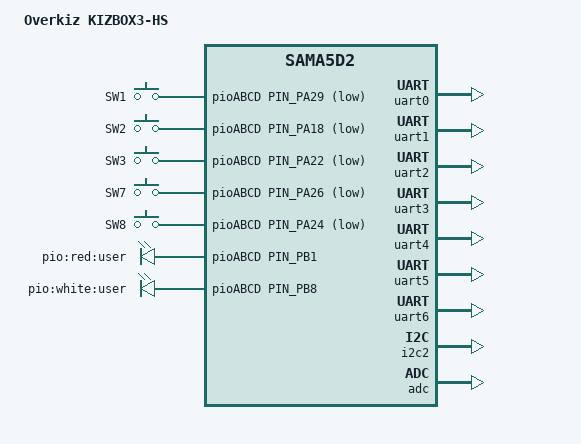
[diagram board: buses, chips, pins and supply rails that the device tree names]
// SPDX-License-Identifier: GPL-2.0
/*
 * at91-kizbox3-hs.dts - Device Tree file for Overkiz KIZBOX3-HS board
 *
 * Copyright (C) 2018 Overkiz SAS
 *   Author: Dorian Rocipon <d.rocipon@overkiz.com>
 *           Kevin Carli <k.carli@overkiz.com>
 *           Mickael Gardet <m.gardet@overkiz.com>
 */
/dts-v1/;
#include "at91-kizbox3_common.dtsi"

/ {
	model = "Overkiz KIZBOX3-HS";
	compatible = "overkiz,at91-kizbox3-hs", "atmel,sama5d2", "atmel,sama5";

	ahb {

		apb {

			uart0: serial@f801c000 {
				status = "okay";
			};

			/* debug uart */
			uart1: serial@f8020000 {
				status = "okay";
			};

			uart2: serial@f8024000 {
				status = "okay";
			};

			uart3: serial@fc008000 {
				status = "okay";
			};

			uart4: serial@fc00c000 {
				status = "okay";
			};

			flx0: flexcom@f8034000 {
				status = "okay";
				uart5: serial@200  {
						status = "okay";
				};
			};

			flx3: flexcom@fc014000 {
				status = "okay";
				uart6: serial@200 {
					status = "okay";
				};
			};

			flx4: flexcom@fc018000 {
				status = "okay";

				i2c2: i2c@600 {
					status = "okay";
				};
			};

			adc: adc@fc030000 {
				status = "okay";
			};

			pioABCD: pinctrl@fc038000 { // PIO A B C D

				pinctrl_key_gpio_default: key_gpio_default {
					pinmux=  <PIN_PA22__GPIO>,
					<PIN_PA24__GPIO>,
					<PIN_PA26__GPIO>,
					<PIN_PA29__GPIO>,
					<PIN_PA18__GPIO>;
					bias-disable;
					};

				pinctrl_gpio {
					pinctrl_pio_rf: gpio_rf {
						pinmux = <PIN_PC19__GPIO>;
						bias-disable;
					};
					pinctrl_pio_wifi: gpio_wifi {
						pinmux = <PIN_PC20__GPIO>;
						bias-disable;
					};
					pinctrl_pio_io_boot: gpio_io_boot {
						pinmux =
						<PIN_PC11__GPIO>,
						<PIN_PC17__GPIO>;
						bias-disable;
					};
					pinctrl_pio_io_test_radio: gpio_io_test_radio {
						pinmux = <PIN_PC9__GPIO>;
						bias-disable;
					};
					pinctrl_pio_zbe_test_radio: gpio_zbe_test_radio {
						pinmux = <PIN_PB21__GPIO>;
						bias-disable;
					};
					pinctrl_pio_zbe_rst: gpio_zbe_rst {
						pinmux = <PIN_PB25__GPIO>;
						bias-disable;
					};
					pinctrl_pio_io_reset: gpio_io_reset {
						pinmux = <PIN_PB30__GPIO>;
						//stm32 reset must be open drain (internal pull up)
						bias-disable;
						drive-open-drain = <1>;
						output-low;
					};
					pinctrl_pio_input: gpio_input {
						pinmux =
						<PIN_PB11__GPIO>,
						<PIN_PB12__GPIO>,
						<PIN_PC0__GPIO>;
						bias-disable;
					};
				};

				pinctrl_sx1243 {
					pinctrl_sx1243_tx: sx1243_tx {
						pinmux = <PIN_PB6__GPIO>;
						bias-disable;
					};
					pinctrl_sx1243_en: sx1243_en {
						pinmux = <PIN_PB17__GPIO>;
						bias-disable;
					};
					pinctrl_sx1243_cs: sx1243_cs {
						pinmux = <PIN_PB18__GPIO>;
						bias-disable;
					};
				};

				pinctrl_leds {
					pinctrl_led_red: led_red {
						pinmux = <PIN_PB1__GPIO>;
						bias-disable;
					};
					pinctrl_led_white: led_white {
						pinmux = <PIN_PB8__GPIO>;
						bias-disable;
					};
 				};
			};
		};
	};

	gpio_keys {
		compatible = "gpio-keys";
		pinctrl-names = "default" , "default", "default", "default", "default" ;
		pinctrl-0 = <&pinctrl_key_gpio_default>;
		pinctrl-1 = <&pinctrl_pio_rf &pinctrl_pio_wifi>;
		pinctrl-2 = <&pinctrl_pio_io_boot &pinctrl_pio_io_reset &pinctrl_pio_io_test_radio>;
		pinctrl-3 = <&pinctrl_pio_zbe_test_radio &pinctrl_pio_zbe_rst>;
		pinctrl-4 = <&pinctrl_pio_input>;

		SW1 {
			label = "SW1";
			gpios = <&pioABCD PIN_PA29 GPIO_ACTIVE_LOW>;
			linux,code = <0x101>;
			wakeup-source;
		};

		SW2 {
			label = "SW2";
			gpios = <&pioABCD PIN_PA18 GPIO_ACTIVE_LOW>;
			linux,code = <0x102>;
			wakeup-source;
		};

		SW3 {
			label = "SW3";
			gpios = <&pioABCD PIN_PA22 GPIO_ACTIVE_LOW>;
			linux,code = <0x103>;
			wakeup-source;
		};

		SW7 {
			label = "SW7";
			gpios = <&pioABCD PIN_PA26 GPIO_ACTIVE_LOW>;
			linux,code = <0x107>;
			wakeup-source;
		};

		SW8 {
			label = "SW8";
			gpios = <&pioABCD PIN_PA24 GPIO_ACTIVE_LOW>;
			linux,code = <0x108>;
			wakeup-source;
		};
	};

	pwm_leds {
		status = "okay";

		red {
			status = "okay";
		};

		green {
			status = "okay";
		};

		blue {
			status = "okay";
		};

		white {
			status = "okay";
		};
	};

	leds  {
		compatible = "gpio-leds";
		pinctrl-names = "default";
		pinctrl-0 = <&pinctrl_led_red
				&pinctrl_led_white>;
		status = "okay";

		red {
			label = "pio:red:user";
			gpios = <&pioABCD PIN_PB1 GPIO_ACTIVE_HIGH>;
			default-state = "off";
		};

		white {
			label = "pio:white:user";
			gpios = <&pioABCD PIN_PB8 GPIO_ACTIVE_HIGH>;
			default-state = "off";
		};
	};

	gpios {
		compatible = "gpio";
		status = "okay";

		rf_on {
			label = "rf on";
			gpio = <&pioABCD PIN_PC19 GPIO_ACTIVE_HIGH>;
			output;
			init-low;
		};

		wifi_on {
			label = "wifi on";
			gpio = <&pioABCD PIN_PC20 GPIO_ACTIVE_HIGH>;
			output;
			init-low;
		};

		zbe_test_radio {
			label = "zbe test radio";
			gpio = <&pioABCD PIN_PB21 GPIO_ACTIVE_HIGH>;
			output;
			init-low;
		};

		zbe_rst {
			label = "zbe rst";
			gpio = <&pioABCD PIN_PB25 GPIO_ACTIVE_HIGH>;
			output;
			init-low;
		};

		io_reset {
			label = "io reset";
			gpio = <&pioABCD PIN_PB30 GPIO_ACTIVE_HIGH>;
			output;
			init-low;
		};

		io_test_radio {
			label = "io test radio";
			gpio = <&pioABCD PIN_PC9 GPIO_ACTIVE_HIGH>;
			output;
			init-low;
		};

		io_boot_0 {
			label = "io boot 0";
			gpio = <&pioABCD PIN_PC11 GPIO_ACTIVE_HIGH>;
			output;
			init-low;
		};

		io_boot_1 {
			label = "io boot 1";
			gpio = <&pioABCD PIN_PC17 GPIO_ACTIVE_HIGH>;
			output;
			init-low;
		};

		verbose_bootloader {
			label = "verbose bootloader";
			gpio = <&pioABCD PIN_PB11 GPIO_ACTIVE_HIGH>;
			input;
		};

		 nail_bed_detection  {
			label = "nail bed detection";
			gpio = <&pioABCD PIN_PB12 GPIO_ACTIVE_HIGH>;
			input;
		};

		 id_usba {
			label = "id usba";
			gpio = <&pioABCD PIN_PC0 GPIO_ACTIVE_LOW>;
			input;
		};
	};

};

